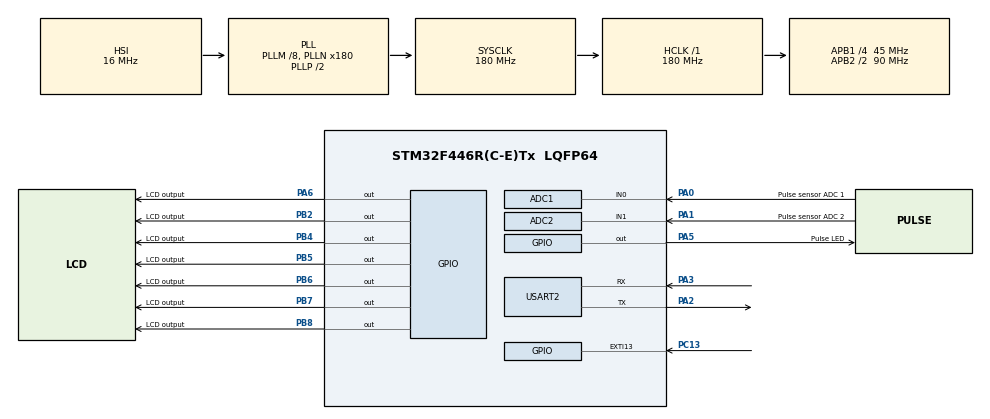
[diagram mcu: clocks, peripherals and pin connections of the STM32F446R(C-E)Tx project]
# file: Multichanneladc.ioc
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ADC1.Channel-2\#ChannelRegularConversion=ADC_CHANNEL_0
ADC1.ContinuousConvMode=ENABLE
ADC1.NbrOfConversionFlag=1
ADC1.Rank-2\#ChannelRegularConversion=1
ADC1.Resolution=ADC_RESOLUTION_12B
ADC1.SamplingTime-2\#ChannelRegularConversion=ADC_SAMPLETIME_3CYCLES
ADC1.master=1
ADC2.Channel-0\#ChannelRegularConversion=ADC_CHANNEL_1
ADC2.ContinuousConvMode=ENABLE
ADC2.NbrOfConversionFlag=1
ADC2.Rank-0\#ChannelRegularConversion=1
ADC2.Resolution=ADC_RESOLUTION_12B
ADC2.SamplingTime-0\#ChannelRegularConversion=ADC_SAMPLETIME_3CYCLES
FREERTOS.Tasks01=PulseTask,1,128,StartPulseTask,Default,NULL,Dynamic,NULL,NULL;TempTask,1,128,StartTempTask,Default,NULL,Dynamic,NULL,NULL
FREERTOS.Timers01=a_min_timer,Callback_a_min_timer,osTimerPeriodic,Default,NULL,Dynamic,NULL
FREERTOS.configTIMER_TASK_PRIORITY=1
FREERTOS.configUSE_TIMERS=1
FREERTOS.configUSE_TRACE_FACILITY=1
Mcu.Family=STM32F4
Mcu.Name=STM32F446R(C-E)Tx
Mcu.Package=LQFP64
NVIC.EXTI15_10_IRQn=true\:5\:0\:false\:false\:true\:true\:true\:true\:true
NVIC.PriorityGroup=NVIC_PRIORITYGROUP_4
NVIC.TIM1_UP_TIM10_IRQn=true\:5\:0\:false\:false\:true\:false\:false\:true\:true
NVIC.TIM6_DAC_IRQn=true\:15\:0\:false\:false\:true\:false\:false\:true\:true
NVIC.TimeBase=TIM6_DAC_IRQn
NVIC.TimeBaseIP=TIM6
PA0-WKUP.GPIO_Label=Pulse sensor ADC 1
PA0-WKUP.Signal=ADCx_IN0
PA1.GPIO_Label=Pulse sensor ADC 2
PA1.Signal=ADCx_IN1
PA13.Mode=Trace_Asynchronous_SW
PA13.Signal=SYS_JTMS-SWDIO
PA14.Mode=Trace_Asynchronous_SW
PA14.Signal=SYS_JTCK-SWCLK
PA2.Mode=Asynchronous
PA2.Signal=USART2_TX
PA3.Mode=Asynchronous
PA3.Signal=USART2_RX
PA5.GPIO_Label=Pulse LED
PA5.Signal=GPIO_Output
PA6.GPIO_Label=LCD output
PA6.Signal=GPIO_Output
PB2.GPIO_Label=LCD output
PB2.Signal=GPIO_Output
PB3.GPIO_Label=ITM Data Console connect
PB3.Mode=Trace_Asynchronous_SW
PB3.Signal=SYS_JTDO-SWO
PB4.GPIO_Label=LCD output
PB4.Signal=GPIO_Output
PB5.GPIO_Label=LCD output
PB5.Signal=GPIO_Output
PB6.GPIO_Label=LCD output
PB6.Signal=GPIO_Output
PB7.GPIO_Label=LCD output
PB7.Signal=GPIO_Output
PB8.GPIO_Label=LCD output
PB8.Signal=GPIO_Output
PC13.GPIO_ModeDefaultEXTI=GPIO_MODE_IT_FALLING
PC13.Signal=GPXTI13
ProjectManager.HeapSize=0x200
ProjectManager.StackSize=0x400
ProjectManager.TargetToolchain=STM32CubeIDE
RCC.AHBFreq_Value=180000000
RCC.APB1CLKDivider=RCC_HCLK_DIV4
RCC.APB1Freq_Value=45000000
RCC.APB1TimFreq_Value=90000000
RCC.APB2CLKDivider=RCC_HCLK_DIV2
RCC.APB2Freq_Value=90000000
RCC.APB2TimFreq_Value=180000000
RCC.CortexFreq_Value=180000000
RCC.HCLKFreq_Value=180000000
RCC.PLLM=8
RCC.PLLN=180
RCC.SYSCLKFreq_VALUE=180000000
RCC.SYSCLKSource=RCC_SYSCLKSOURCE_PLLCLK
RCC.USBFreq_Value=180000000
RCC.VCOOutputFreq_Value=360000000
SH.ADCx_IN0.0=ADC1_IN0,IN0
SH.ADCx_IN1.0=ADC2_IN1,IN1
TIM1.Period=255
TIM1.Prescaler=84
USART2.VirtualMode=VM_ASYNC
VP_FREERTOS_VS_CMSIS_V1.Mode=CMSIS_V1
VP_SYS_VS_tim6.Mode=TIM6
VP_TIM1_VS_ClockSourceINT.Mode=Internal
board=custom

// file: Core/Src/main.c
/* USER CODE BEGIN Header */
/**
  ******************************************************************************
  * @file           : main.c
  * @brief          : Main program body
  ******************************************************************************
  * @attention
  *
  * Copyright (c) 2024 STMicroelectronics.
  * All rights reserved.
  *
  * This software is licensed under terms that can be found in the LICENSE file
  * in the root directory of this software component.
  * If no LICENSE file comes with this software, it is provided AS-IS.
  *
  ******************************************************************************
  */
/* USER CODE END Header */
#include "main.h"
#include "cmsis_os.h"

/* USER CODE BEGIN Includes */
#include <stdio.h>
#include <string.h>
/* USER CODE END Includes */

/* USER CODE BEGIN PD */
#define RS_Pin GPIO_PIN_2
#define RS_GPIO_Port GPIOB
#define RW_Pin GPIO_PIN_6  // PB3-> PA6
#define RW_GPIO_Port GPIOA // PB3-> PA6
#define EN_Pin GPIO_PIN_4
#define EN_GPIO_Port GPIOB
#define D4_Pin GPIO_PIN_5
#define D4_GPIO_Port GPIOB
#define D5_Pin GPIO_PIN_6
#define D5_GPIO_Port GPIOB
#define D6_Pin GPIO_PIN_7
#define D6_GPIO_Port GPIOB
#define D7_Pin GPIO_PIN_8
#define D7_GPIO_Port GPIOB
/* USER CODE END PD */

ADC_HandleTypeDef hadc1;
ADC_HandleTypeDef hadc2;

TIM_HandleTypeDef htim1;

UART_HandleTypeDef huart2;

osThreadId PulseTaskHandle;
osThreadId TempTaskHandle;
osTimerId a_min_timerHandle;
/* USER CODE BEGIN PV */
uint16_t pul=0;
float tem=0;
uint16_t rawValues[2]={0,0};
char msg[60];
char msg_a[60];
char msg_b[60];
int BPM[1]={0};
float TEMP[1]={0};
int i=0;
int debug_mode=0;
int debug_start_screen=0;
int timer_invoke_indicator=0;
int debug_invoke_indicator=0;
uint16_t ADC1_value=0;
float ADC2_value=0;

uint16_t last_ADC1_value=0;
float last_ADC2_value=0;

//average temp reading.

int temp_sensor_raw_data[30];
int temp_loop=0;
float temp_average_raw=0;

// Custom Icons
char heart[] = {
		  0x00,
		  0x11,
		  0x1B,
		  0x1F,
		  0x1F,
		  0x0E,
		  0x04,
		  0x00
		};  // heart:0

/* USER CODE END PV */

void SystemClock_Config(void);
static void MX_GPIO_Init(void);
static void MX_ADC1_Init(void);
static void MX_USART2_UART_Init(void);
static void MX_ADC2_Init(void);
static void MX_TIM1_Init(void);
void StartPulseTask(void const * argument);
void StartTempTask(void const * argument);
void Callback_a_min_timer(void const * argument);

/* USER CODE BEGIN PFP */
//LCD interface
void lcd_init (void);
void lcd_send_cmd (char cmd);
void lcd_send_data (char data);
void lcd_send_string (char *str);
void lcd_put_cur(int row, int col);
void lcd_clear (void);
/* USER CODE END PFP */

/* USER CODE BEGIN 0 */

uint8_t convCompleted = 0;

int _write(int file, char *ptr, int len)
{
	int i=0;
	for(i=0;i<len;i++)
		ITM_SendChar((*ptr++));
	return len;
}

void HAL_ADC_ConvCpltCallback(ADC_HandleTypeDef *hadc)
{
	convCompleted = 1;
}

void HAL_GPIO_EXTI_Callback(uint16_t GPIO_Pin)
{
  /* Prevent unused argument(s) compilation warning */
	debug_mode=1;
	debug_start_screen=1;

  /* NOTE: This function Should not be modified, when the callback is needed,
           the HAL_GPIO_EXTI_Callback could be implemented in the user file
   */
}

/* USER CODE END 0 */

int main(void)
{

  /* MCU Configuration--------------------------------------------------------*/

  /* Reset of all peripherals, Initializes the Flash interface and the Systick. */
  HAL_Init();

  /* Configure the system clock */
  SystemClock_Config();

  /* Initialize all configured peripherals */
  MX_GPIO_Init();
  MX_ADC1_Init();
  MX_USART2_UART_Init();
  MX_ADC2_Init();
  MX_TIM1_Init();
  /* USER CODE BEGIN 2 */

  lcd_init();

  // store the chars into the CGRAM
  //lcd_send_cmd(0x40);
  //for (int i=0; i<8; i++) lcd_send_data(cc5[i]);

  lcd_clear();
  //lcd_put_cur(0,0);
  //lcd_send_data(heart); // displaying heart.
  lcd_put_cur(0,0);
  lcd_send_string(" Health Monitor");
  lcd_put_cur(1,0);
  lcd_send_string("     System");

  /* USER CODE END 2 */

  /* Create the timer(s) */
  /* definition and creation of a_min_timer */
  osTimerDef(a_min_timer, Callback_a_min_timer);
  a_min_timerHandle = osTimerCreate(osTimer(a_min_timer), osTimerPeriodic, NULL);

  /* Create the thread(s) */
  /* definition and creation of PulseTask */
  osThreadDef(PulseTask, StartPulseTask, osPriorityAboveNormal, 0, 128);
  PulseTaskHandle = osThreadCreate(osThread(PulseTask), NULL);

  /* definition and creation of TempTask */
  osThreadDef(TempTask, StartTempTask, osPriorityAboveNormal, 0, 128);
  TempTaskHandle = osThreadCreate(osThread(TempTask), NULL);

  /* Start scheduler */
  osKernelStart();

  /* We should never get here as control is now taken by the scheduler */

  /* Infinite loop */
  while (1)
  {

  }
}

void SystemClock_Config(void)
{
  RCC_OscInitTypeDef RCC_OscInitStruct = {0};
  RCC_ClkInitTypeDef RCC_ClkInitStruct = {0};

  /** Configure the main internal regulator output voltage
  */
  __HAL_RCC_PWR_CLK_ENABLE();
  __HAL_PWR_VOLTAGESCALING_CONFIG(PWR_REGULATOR_VOLTAGE_SCALE1);

  /** Initializes the RCC Oscillators according to the specified parameters
  * in the RCC_OscInitTypeDef structure.
  */
  RCC_OscInitStruct.OscillatorType = RCC_OSCILLATORTYPE_HSI;
  RCC_OscInitStruct.HSIState = RCC_HSI_ON;
  RCC_OscInitStruct.HSICalibrationValue = RCC_HSICALIBRATION_DEFAULT;
  RCC_OscInitStruct.PLL.PLLState = RCC_PLL_ON;
  RCC_OscInitStruct.PLL.PLLSource = RCC_PLLSOURCE_HSI;
  RCC_OscInitStruct.PLL.PLLM = 8;
  RCC_OscInitStruct.PLL.PLLN = 180;
  RCC_OscInitStruct.PLL.PLLP = RCC_PLLP_DIV2;
  RCC_OscInitStruct.PLL.PLLQ = 2;
  RCC_OscInitStruct.PLL.PLLR = 2;
  if (HAL_RCC_OscConfig(&RCC_OscInitStruct) != HAL_OK)
  {
    Error_Handler();
  }

  /** Activate the Over-Drive mode
  */
  if (HAL_PWREx_EnableOverDrive() != HAL_OK)
  {
    Error_Handler();
  }

  /** Initializes the CPU, AHB and APB buses clocks
  */
  RCC_ClkInitStruct.ClockType = RCC_CLOCKTYPE_HCLK|RCC_CLOCKTYPE_SYSCLK
                              |RCC_CLOCKTYPE_PCLK1|RCC_CLOCKTYPE_PCLK2;
  RCC_ClkInitStruct.SYSCLKSource = RCC_SYSCLKSOURCE_PLLCLK;
  RCC_ClkInitStruct.AHBCLKDivider = RCC_SYSCLK_DIV1;
  RCC_ClkInitStruct.APB1CLKDivider = RCC_HCLK_DIV4;
  RCC_ClkInitStruct.APB2CLKDivider = RCC_HCLK_DIV2;

  if (HAL_RCC_ClockConfig(&RCC_ClkInitStruct, FLASH_LATENCY_5) != HAL_OK)
  {
    Error_Handler();
  }
}

static void MX_ADC1_Init(void)
{

  ADC_ChannelConfTypeDef sConfig = {0};

  /** Configure the global features of the ADC (Clock, Resolution, Data Alignment and number of conversion)
  */
  hadc1.Instance = ADC1;
  hadc1.Init.ClockPrescaler = ADC_CLOCK_SYNC_PCLK_DIV4;
  hadc1.Init.Resolution = ADC_RESOLUTION_12B;
  hadc1.Init.ScanConvMode = DISABLE;
  hadc1.Init.ContinuousConvMode = ENABLE;
  hadc1.Init.DiscontinuousConvMode = DISABLE;
  hadc1.Init.ExternalTrigConvEdge = ADC_EXTERNALTRIGCONVEDGE_NONE;
  hadc1.Init.ExternalTrigConv = ADC_SOFTWARE_START;
  hadc1.Init.DataAlign = ADC_DATAALIGN_RIGHT;
  hadc1.Init.NbrOfConversion = 1;
  hadc1.Init.DMAContinuousRequests = DISABLE;
  hadc1.Init.EOCSelection = ADC_EOC_SINGLE_CONV;
  if (HAL_ADC_Init(&hadc1) != HAL_OK)
  {
    Error_Handler();
  }

  /** Configure for the selected ADC regular channel its corresponding rank in the sequencer and its sample time.
  */
  sConfig.Channel = ADC_CHANNEL_0;
  sConfig.Rank = 1;
  sConfig.SamplingTime = ADC_SAMPLETIME_3CYCLES;
  if (HAL_ADC_ConfigChannel(&hadc1, &sConfig) != HAL_OK)
  {
    Error_Handler();
  }

}

static void MX_ADC2_Init(void)
{

  ADC_ChannelConfTypeDef sConfig = {0};

  /** Configure the global features of the ADC (Clock, Resolution, Data Alignment and number of conversion)
  */
  hadc2.Instance = ADC2;
  hadc2.Init.ClockPrescaler = ADC_CLOCK_SYNC_PCLK_DIV4;
  hadc2.Init.Resolution = ADC_RESOLUTION_12B;
  hadc2.Init.ScanConvMode = DISABLE;
  hadc2.Init.ContinuousConvMode = ENABLE;
  hadc2.Init.DiscontinuousConvMode = DISABLE;
  hadc2.Init.ExternalTrigConvEdge = ADC_EXTERNALTRIGCONVEDGE_NONE;
  hadc2.Init.ExternalTrigConv = ADC_SOFTWARE_START;
  hadc2.Init.DataAlign = ADC_DATAALIGN_RIGHT;
  hadc2.Init.NbrOfConversion = 1;
  hadc2.Init.DMAContinuousRequests = DISABLE;
  hadc2.Init.EOCSelection = ADC_EOC_SINGLE_CONV;
  if (HAL_ADC_Init(&hadc2) != HAL_OK)
  {
    Error_Handler();
  }

  /** Configure for the selected ADC regular channel its corresponding rank in the sequencer and its sample time.
  */
  sConfig.Channel = ADC_CHANNEL_1;
  sConfig.Rank = 1;
  sConfig.SamplingTime = ADC_SAMPLETIME_3CYCLES;
  if (HAL_ADC_ConfigChannel(&hadc2, &sConfig) != HAL_OK)
  {
    Error_Handler();
  }

}

static void MX_TIM1_Init(void)
{

  TIM_ClockConfigTypeDef sClockSourceConfig = {0};
  TIM_MasterConfigTypeDef sMasterConfig = {0};

  htim1.Instance = TIM1;
  htim1.Init.Prescaler = 84;
  htim1.Init.CounterMode = TIM_COUNTERMODE_UP;
  htim1.Init.Period = 255;
  htim1.Init.ClockDivision = TIM_CLOCKDIVISION_DIV1;
  htim1.Init.RepetitionCounter = 0;
  htim1.Init.AutoReloadPreload = TIM_AUTORELOAD_PRELOAD_DISABLE;
  if (HAL_TIM_Base_Init(&htim1) != HAL_OK)
  {
    Error_Handler();
  }
  sClockSourceConfig.ClockSource = TIM_CLOCKSOURCE_INTERNAL;
  if (HAL_TIM_ConfigClockSource(&htim1, &sClockSourceConfig) != HAL_OK)
  {
    Error_Handler();
  }
  sMasterConfig.MasterOutputTrigger = TIM_TRGO_RESET;
  sMasterConfig.MasterSlaveMode = TIM_MASTERSLAVEMODE_DISABLE;
  if (HAL_TIMEx_MasterConfigSynchronization(&htim1, &sMasterConfig) != HAL_OK)
  {
    Error_Handler();
  }

}

static void MX_USART2_UART_Init(void)
{

  huart2.Instance = USART2;
  huart2.Init.BaudRate = 115200;
  huart2.Init.WordLength = UART_WORDLENGTH_8B;
  huart2.Init.StopBits = UART_STOPBITS_1;
  huart2.Init.Parity = UART_PARITY_NONE;
  huart2.Init.Mode = UART_MODE_TX_RX;
  huart2.Init.HwFlowCtl = UART_HWCONTROL_NONE;
  huart2.Init.OverSampling = UART_OVERSAMPLING_16;
  if (HAL_UART_Init(&huart2) != HAL_OK)
  {
    Error_Handler();
  }

}

static void MX_GPIO_Init(void)
{
  GPIO_InitTypeDef GPIO_InitStruct = {0};

  /* GPIO Ports Clock Enable */
  __HAL_RCC_GPIOC_CLK_ENABLE();
  __HAL_RCC_GPIOA_CLK_ENABLE();
  __HAL_RCC_GPIOB_CLK_ENABLE();

  /*Configure GPIO pin Output Level */
  HAL_GPIO_WritePin(GPIOA, Pulse_LED_Pin|LCD_output_Pin, GPIO_PIN_RESET);

  /*Configure GPIO pin Output Level */
  HAL_GPIO_WritePin(GPIOB, LCD_outputB2_Pin|LCD_outputB4_Pin|LCD_outputB5_Pin|LCD_outputB6_Pin
                          |LCD_outputB7_Pin|LCD_outputB8_Pin, GPIO_PIN_RESET);

  /*Configure GPIO pin : PC13 */
  GPIO_InitStruct.Pin = GPIO_PIN_13;
  GPIO_InitStruct.Mode = GPIO_MODE_IT_FALLING;
  GPIO_InitStruct.Pull = GPIO_NOPULL;
  HAL_GPIO_Init(GPIOC, &GPIO_InitStruct);

  /*Configure GPIO pins : Pulse_LED_Pin LCD_output_Pin */
  GPIO_InitStruct.Pin = Pulse_LED_Pin|LCD_output_Pin;
  GPIO_InitStruct.Mode = GPIO_MODE_OUTPUT_PP;
  GPIO_InitStruct.Pull = GPIO_NOPULL;
  GPIO_InitStruct.Speed = GPIO_SPEED_FREQ_LOW;
  HAL_GPIO_Init(GPIOA, &GPIO_InitStruct);

  /*Configure GPIO pins : LCD_outputB2_Pin LCD_outputB4_Pin LCD_outputB5_Pin LCD_outputB6_Pin
                           LCD_outputB7_Pin LCD_outputB8_Pin */
  GPIO_InitStruct.Pin = LCD_outputB2_Pin|LCD_outputB4_Pin|LCD_outputB5_Pin|LCD_outputB6_Pin
                          |LCD_outputB7_Pin|LCD_outputB8_Pin;
  GPIO_InitStruct.Mode = GPIO_MODE_OUTPUT_PP;
  GPIO_InitStruct.Pull = GPIO_NOPULL;
  GPIO_InitStruct.Speed = GPIO_SPEED_FREQ_LOW;
  HAL_GPIO_Init(GPIOB, &GPIO_InitStruct);

  /* EXTI interrupt init*/
  HAL_NVIC_SetPriority(EXTI15_10_IRQn, 5, 0);
  HAL_NVIC_EnableIRQ(EXTI15_10_IRQn);

}

/* USER CODE BEGIN 4 */

// LED INTERFACE.

void delay (uint16_t us)

{
	int oo = 0;

	while (oo < us) {
		oo++;
}
	}

/******************************************************/

void send_to_lcd (char data, int rs)
{
	HAL_GPIO_WritePin(RS_GPIO_Port, RS_Pin, rs);  // rs = 1 for data, rs=0 for command

	/* write the data to the respective pin */
	HAL_GPIO_WritePin(D7_GPIO_Port, D7_Pin, ((data>>3)&0x01));
	HAL_GPIO_WritePin(D6_GPIO_Port, D6_Pin, ((data>>2)&0x01));
	HAL_GPIO_WritePin(D5_GPIO_Port, D5_Pin, ((data>>1)&0x01));
	HAL_GPIO_WritePin(D4_GPIO_Port, D4_Pin, ((data>>0)&0x01));

	HAL_GPIO_WritePin(EN_GPIO_Port, EN_Pin, 1);
	HAL_Delay(1);
	HAL_GPIO_WritePin(EN_GPIO_Port, EN_Pin, 0);
	HAL_Delay(1);
}

void lcd_send_cmd (char cmd)
{
    char datatosend;

    /* send upper nibble first */
    datatosend = ((cmd>>4)&0x0f);
    send_to_lcd(datatosend,0);  // RS must be 0 while sending command

    /* send Lower Nibble */
    datatosend = ((cmd)&0x0f);
	send_to_lcd(datatosend, 0);
}

void lcd_send_data (char data)
{
	char datatosend;

	/* send higher nibble */
	datatosend = ((data>>4)&0x0f);
	send_to_lcd(datatosend, 1);  // rs =1 for sending data

	/* send Lower nibble */
	datatosend = ((data)&0x0f);
	send_to_lcd(datatosend, 1);
}

void lcd_clear (void)
{
	lcd_send_cmd(0x01);
	HAL_Delay(1);
}

void lcd_put_cur(int row, int col)
{
    switch (row)
    {
        case 0:
            col |= 0x80;
            break;
        case 1:
            col |= 0xC0;
            break;
    }

    lcd_send_cmd (col);
}

void lcd_init (void)
{

	HAL_Delay(10);
	lcd_send_cmd (0x02);
	lcd_send_cmd (0x28); // Function set --> DL=0 (4 bit mode), N = 1 (2 line display) F = 0 (5x8 characters)
	lcd_send_cmd (0x08); //Display on/off control --> D=0,C=0, B=0  ---> display off
	lcd_send_cmd (0x01);  // clear display
	lcd_send_cmd (0x06); //Entry mode set --> I/D = 1 (increment cursor) & S = 0 (no shift)
	lcd_send_cmd (0x0C); //Display on/off control --> D = 1, C and B = 0. (Cursor and blink, last two bits)
}

void lcd_send_string (char *str)
{
	while (*str) lcd_send_data (*str++);
}

/* USER CODE END 4 */

void StartPulseTask(void const * argument)
{
  /* USER CODE BEGIN 5 */
	//sprintf(msg,"Pulse task called\r\n");
	if(debug_mode==0){
	osTimerStart(a_min_timerHandle,10000);
	}
	else
	{
	osTimerStop(a_min_timerHandle);
	osTimerStart(a_min_timerHandle,20);
	}
  /* Infinite loop */
  for(;;)
  {
	 //sprintf(msg,"Pulse task called\r\n");
	 //HAL_UART_Transmit(&huart2,(uint8_t *)msg,strlen(msg),HAL_MAX_DELAY);

	 HAL_ADC_Start(&hadc1);
	 HAL_ADC_PollForConversion(&hadc1, HAL_MAX_DELAY);
	 ADC1_value = HAL_ADC_GetValue(&hadc1);
	 HAL_ADC_Stop(&hadc1);

	 //sprintf(msg,"Pulse: %hu\r\n",ADC1_value);
	 //HAL_UART_Transmit(&huart2,(uint8_t *)msg,strlen(msg),HAL_MAX_DELAY);

	  if(ADC1_value>4000 && last_ADC1_value<4000)
	  {
		  HAL_GPIO_WritePin(GPIOA, GPIO_PIN_5, GPIO_PIN_SET);
		  osDelay(50);
		  HAL_GPIO_WritePin(GPIOA, GPIO_PIN_5, GPIO_PIN_RESET);
		  osDelay(50);
		  BPM[i]=BPM[i]+1;
	  }
	  else
	  {
		  HAL_GPIO_WritePin(GPIOA, GPIO_PIN_5, GPIO_PIN_RESET);
	  }

	  last_ADC1_value=ADC1_value;

     osDelay(300);
  }
  /* USER CODE END 5 */
}

void StartTempTask(void const * argument)
{
  /* USER CODE BEGIN StartTempTask */
  /* Infinite loop */
  for(;;)
  {
	  //sprintf(msg,"Temp task called\r\n");
	  	 //HAL_UART_Transmit(&huart2,(uint8_t *)msg,strlen(msg),HAL_MAX_DELAY);

	  	 while(temp_loop<30)
	  	 {
	  	 HAL_ADC_Start(&hadc2);
	  	 HAL_ADC_PollForConversion(&hadc2, HAL_MAX_DELAY);
	  	 ADC2_value = HAL_ADC_GetValue(&hadc2);
	  	 HAL_ADC_Stop(&hadc2);
	  	 temp_sensor_raw_data[temp_loop]=ADC2_value;
	  	 temp_loop++;
	  	 }

	  	 temp_loop=0;

	  	 while(temp_loop<30)
	  	 {
	  	 temp_average_raw = temp_average_raw + temp_sensor_raw_data[temp_loop];
	  	 temp_loop++;
	  	 }

	  	 temp_average_raw=temp_average_raw/30;
	  	 temp_loop=0;
	     osDelay(1);
  }
  /* USER CODE END StartTempTask */
}

/* Callback_a_min_timer function */
void Callback_a_min_timer(void const * argument)
{
  /* USER CODE BEGIN Callback_a_min_timer */
	int final=0;
	int temp_final=0;
	timer_invoke_indicator=4095;

	// debug mode message start.
	if(debug_start_screen==1)
	{
		sprintf(msg_a,"Activating");
		sprintf(msg_b,"Debug Mode...");
		debug_invoke_indicator=4095;

		lcd_clear();
		lcd_put_cur(0,0);
	    lcd_send_string(msg_a);
	    lcd_put_cur(1,0);
	    lcd_send_string(msg_b);
	    debug_start_screen=0;
	    osDelay(2000);
	}
	else{
		// For future use.
	};

	// debug mode message end.

	//sprintf(msg,"Timer task working\r\n");
	HAL_UART_Transmit(&huart2,(uint8_t *)msg,strlen(msg),HAL_MAX_DELAY);

	final = BPM[i]*6;

	TEMP[i]= (temp_average_raw/4095)*5;
	TEMP[i]= 93-TEMP[i]*100;
	temp_final = (int)TEMP[i];

	if(final>59)
	{

		if (debug_mode==0)
		{
			sprintf(msg,"BPM: %d\r\n",final);
			HAL_UART_Transmit(&huart2,(uint8_t *)msg,strlen(msg),HAL_MAX_DELAY);

			sprintf(msg,"Temp: %d *C\r\n",temp_final);
			HAL_UART_Transmit(&huart2,msg,strlen(msg),HAL_MAX_DELAY);

			sprintf(msg_a,"BPM: %d",final);
			sprintf(msg_b,"Temp: %d C",temp_final);
			 lcd_clear();
			 lcd_put_cur(0,0);
			 lcd_send_string(msg_a);
			 lcd_put_cur(1,0);
			 lcd_send_string(msg_b);
		}
		else
		{
			sprintf(msg_a,"ADC1: %d",ADC1_value);
			sprintf(msg_b,"ADC2: %d",(int)ADC2_value);
			lcd_clear();
			lcd_put_cur(0,0);
			lcd_send_string(msg_a);
			lcd_put_cur(1,0);
			lcd_send_string(msg_b);
		}

	}

	else if(final<59 && final>10)
	{

		if (debug_mode==0)
		{
			sprintf(msg,"Recording data...\r\n");
			HAL_UART_Transmit(&huart2,(uint8_t *)msg,strlen(msg),HAL_MAX_DELAY);

			 lcd_clear();
			 lcd_put_cur(0,0);
			 lcd_send_string("Recording");
			 lcd_put_cur(1,0);
			 lcd_send_string("Data....");
		}
		else
		{
			sprintf(msg_a,"ADC1: %d",ADC1_value);
			sprintf(msg_b,"ADC2: %d",(int)ADC2_value);
			lcd_clear();
			lcd_put_cur(0,0);
			lcd_send_string(msg_a);
			lcd_put_cur(1,0);
			lcd_send_string(msg_b);
		}

	}
	else if (final<10)
	{

		if (debug_mode==0)
				{
			sprintf(msg,"Please put your finger on sensor\r\n");
			sprintf(msg_b,"Temp: %d C",temp_final);
			HAL_UART_Transmit(&huart2,(uint8_t *)msg,strlen(msg),HAL_MAX_DELAY);

			 lcd_clear();
			 lcd_put_cur(0,0);
			 lcd_send_string("BPM: No finger!"); //no_finger
			 lcd_put_cur(1,0);
			 lcd_send_string(msg_b);
				}
				else
				{
					sprintf(msg_a,"ADC1: %d",ADC1_value);
					sprintf(msg_b,"ADC2: %d",(int)ADC2_value);
					lcd_clear();
					lcd_put_cur(0,0);
					lcd_send_string(msg_a);
					lcd_put_cur(1,0);
					lcd_send_string(msg_b);
				}

	}
	//osThreadResume(PulseTaskHandle);
	BPM[i]=i;
	timer_invoke_indicator=0;
  /* USER CODE END Callback_a_min_timer */
}

void HAL_TIM_PeriodElapsedCallback(TIM_HandleTypeDef *htim)
{
  if (htim->Instance == TIM6) {
    HAL_IncTick();
  }
}

void Error_Handler(void)
{
  __disable_irq();
  while (1)
  {
  }
}
